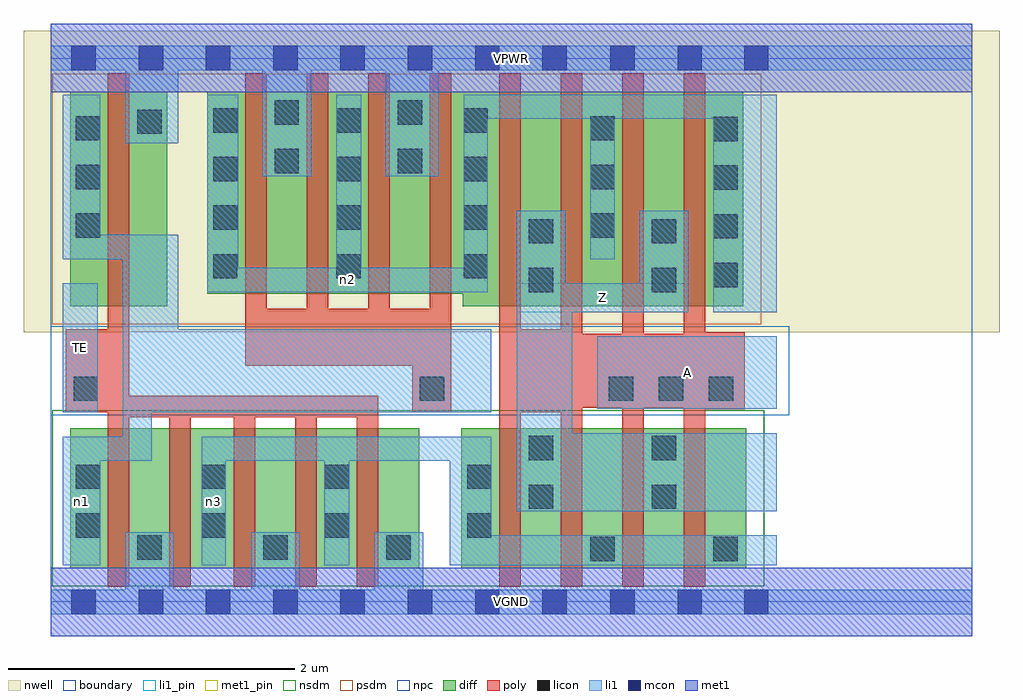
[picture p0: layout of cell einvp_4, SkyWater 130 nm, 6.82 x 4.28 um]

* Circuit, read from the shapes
.subckt einvp_4 A TE VGND VPWR Z n1 n2 n3
XM1 VGND TE n1 VSUBS sky130_fd_pr__nfet_01v8 w=0.98 l=0.15
XM2 n3 TE VGND VSUBS sky130_fd_pr__nfet_01v8 w=0.98 l=0.15 m=4
XM3 Z A n3 VSUBS sky130_fd_pr__nfet_01v8 w=0.98 l=0.15 m=4
XM4 VPWR TE n1 n4 sky130_fd_pr__pfet_01v8 w=1.5 l=0.15
XM5 VPWR n1 n2 n4 sky130_fd_pr__pfet_01v8 w=1.41 l=0.15 m=4
XM6 Z A n2 n4 sky130_fd_pr__pfet_01v8 w=1.5 l=0.15 m=4
.ends

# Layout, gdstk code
import gdstk
lib = gdstk.Library(unit=1e-6, precision=1e-09)
def R(c, l, rs):  # rectangles x0, y0, x1, y1
    for r in rs: c.add(gdstk.rectangle(r[:2], r[2:], *l))
def A(c, l, x, y, w, h, nx, ny, dx, dy):  # array of equal rectangles
    R(c, l, [(x+i*dx, y+j*dy, x+i*dx+w, y+j*dy+h) for i in range(nx) for j in range(ny)])
nwell = (64, 20)
diff = (65, 20)
poly = (66, 20)
licon = (66, 44)
li1_pin = (67, 16)
li1 = (67, 20)
mcon = (67, 44)
met1_pin = (68, 16)
met1 = (68, 20)
nsdm = (93, 44)
psdm = (94, 20)
npc = (95, 20)
boundary = (235, 4)

einvp_4 = lib.new_cell('einvp_4')
R(einvp_4, nwell, [(-0.19,1.885,6.63,3.99), (0,1.885,6.44,3.99)])
R(einvp_4, diff, [(0.135,0.235,2.575,1.215), (2.87,0.235,4.86,1.215), (0.135,2.065,0.815,3.565), (2.88,2.065,4.84,3.565), (1.095,2.155,4.84,3.565)])
A(einvp_4, poly, 1.28, 0.105, 0.15, 1.335, 3, 1, 0.43, 0)
A(einvp_4, poly, 3.135, 0.105, 0.15, 3.59, 4, 1, 0.43, 0)
A(einvp_4, poly, 1.36, 1.65, 0.15, 2.045, 3, 1, 0.43, 0)
R(einvp_4, poly, [(0.4,0.105,0.55,3.695), (0.83,0.105,0.98,1.44), (0.4,1.29,2.29,1.44), (0.105,1.325,0.55,1.905), (2.525,1.325,2.8,2.05), (2.65,1.325,2.8,3.695), (3.135,1.325,3.715,1.905), (4.425,1.345,4.85,1.885), (3.135,1.355,4.85,1.875), (1.36,1.65,2.8,2.05)])
A(einvp_4, licon, 3.9, 1.405, 0.17, 0.17, 3, 1, 0.35, 0)
A(einvp_4, licon, 4.63, 2.2, 0.17, 0.17, 1, 4, 0, 0.34)
A(einvp_4, licon, 1.135, 2.26, 0.17, 0.17, 1, 4, 0, 0.34)
A(einvp_4, licon, 1.995, 2.26, 0.17, 0.17, 1, 4, 0, 0.34)
A(einvp_4, licon, 2.885, 2.26, 0.17, 0.17, 1, 4, 0, 0.34)
A(einvp_4, licon, 0.175, 2.545, 0.17, 0.17, 1, 3, 0, 0.34)
A(einvp_4, licon, 3.77, 2.545, 0.17, 0.17, 1, 3, 0, 0.34)
R(einvp_4, licon, [(3.77,0.285,3.94,0.455), (4.63,0.285,4.8,0.455), (0.605,0.295,0.775,0.465), (1.485,0.295,1.655,0.465), (2.345,0.295,2.515,0.465), (0.175,0.45,0.345,0.62), (1.055,0.45,1.225,0.62), (1.915,0.45,2.085,0.62), (2.91,0.45,3.08,0.62), (3.34,0.65,3.51,0.82), (4.2,0.65,4.37,0.82), (0.175,0.79,0.345,0.96), (1.055,0.79,1.225,0.96), (1.915,0.79,2.085,0.96), (2.91,0.79,3.08,0.96), (3.34,0.99,3.51,1.16), (4.2,0.99,4.37,1.16), (0.16,1.405,0.33,1.575), (2.58,1.405,2.75,1.575), (3.34,2.165,3.51,2.335), (4.2,2.165,4.37,2.335), (3.34,2.505,3.51,2.675), (4.2,2.505,4.37,2.675), (1.565,2.995,1.735,3.165), (2.425,2.995,2.595,3.165), (0.605,3.27,0.775,3.44), (1.565,3.335,1.735,3.505), (2.425,3.335,2.595,3.505)])
R(einvp_4, li1_pin, [(0.085,1.325,0.33,2.225), (3.82,1.35,5.075,1.855), (3.255,2.025,4.455,2.225)])
R(einvp_4, li1, [(0,-0.085,6.44,0.085), (0.52,-0.085,0.86,0.485), (1.4,-0.085,1.74,0.485), (2.26,-0.085,2.605,0.485), (0.085,0.255,0.345,1.155), (1.055,0.255,1.225,1.155), (1.91,0.255,2.085,1.155), (2.79,0.255,5.075,0.465), (2.79,0.255,3.08,1.155), (3.255,0.635,3.595,2.735), (3.255,0.635,5.075,1.18), (3.255,0.635,3.645,2.225), (0.085,0.985,0.705,1.155), (0.505,0.985,0.705,2.565), (1.055,0.985,3.08,1.155), (0.085,1.325,0.33,2.225), (0.505,1.325,3.08,1.905), (0.505,1.325,0.89,2.565), (3.82,1.35,5.075,1.855), (3.255,2.025,4.455,2.225), (4.115,2.025,4.455,2.735), (4.63,2.025,5.075,3.545), (1.095,2.165,3.055,2.335), (1.095,2.165,1.31,3.545), (1.995,2.165,2.17,3.545), (2.885,2.165,3.055,3.545), (0.085,2.395,0.345,3.545), (0.085,2.395,0.89,2.565), (3.77,2.395,3.94,3.545), (1.48,2.975,1.82,3.885), (2.34,2.975,2.71,3.885), (0.52,3.205,0.89,3.885), (2.885,3.375,5.075,3.545), (0,3.715,6.44,3.885)])
A(einvp_4, mcon, 0.145, -0.085, 0.17, 0.17, 8, 2, 0.47, 3.8)
R(einvp_4, mcon, [(3.91,-0.085,4.08,0.085), (4.38,-0.085,4.55,0.085), (4.845,-0.085,5.015,0.085), (3.91,3.715,4.08,3.885), (4.38,3.715,4.55,3.885), (4.845,3.715,5.015,3.885)])
R(einvp_4, met1_pin, [(0,-0.24,6.44,0.24), (0,3.56,6.44,4.04)])
R(einvp_4, met1, [(0,-0.24,6.44,0.24), (0,3.56,6.44,4.04)])
R(einvp_4, nsdm, [(0.01,0.11,4.985,1.34)])
R(einvp_4, psdm, [(0.01,1.94,4.965,3.69)])
R(einvp_4, npc, [(0,1.305,5.16,1.925)])
R(einvp_4, boundary, [(0,0,6.44,3.8)])
einvp_4.add(gdstk.Label('A', (4.447,1.602), layer=67, texttype=5))
einvp_4.add(gdstk.Label('TE', (0.207,1.775), layer=67, texttype=5))
einvp_4.add(gdstk.Label('Z', (3.855,2.125), layer=67, texttype=5))
einvp_4.add(gdstk.Label('n3', (1.14,0.705), layer=67, texttype=5))
einvp_4.add(gdstk.Label('n1', (0.215,0.705), layer=67, texttype=5))
einvp_4.add(gdstk.Label('n2', (2.075,2.25), layer=67, texttype=5))
einvp_4.add(gdstk.Label('VPWR', (3.22,3.8), layer=68, texttype=5))
einvp_4.add(gdstk.Label('VGND', (3.22,0), layer=68, texttype=5))
einvp_4.add(gdstk.Label('A', (4.447,1.602), layer=67, texttype=16))
einvp_4.add(gdstk.Label('TE', (0.207,1.775), layer=67, texttype=16))
einvp_4.add(gdstk.Label('Z', (3.855,2.125), layer=67, texttype=16))
einvp_4.add(gdstk.Label('VPWR', (3.22,3.8), layer=68, texttype=16))
einvp_4.add(gdstk.Label('VGND', (3.22,0), layer=68, texttype=16))

lib.write_gds('einvp_4.gds')
